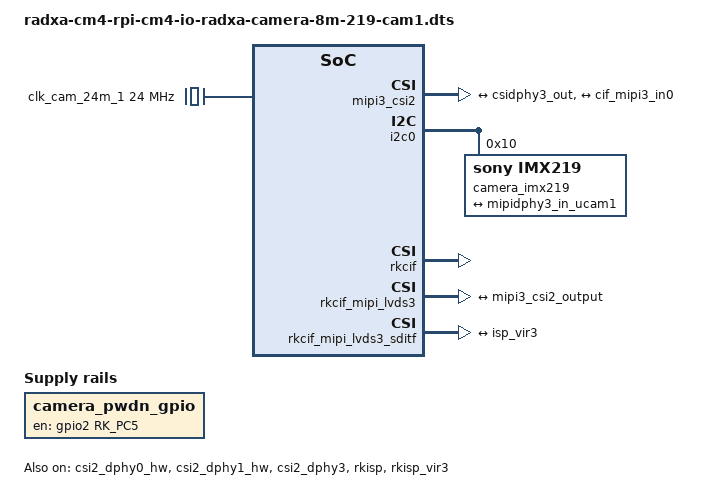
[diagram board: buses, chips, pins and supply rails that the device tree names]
/dts-v1/;
/plugin/;

#include <dt-bindings/gpio/gpio.h>
#include <dt-bindings/pinctrl/rockchip.h>

/ {
	metadata {
		title ="Enable Radxa Camera 8M 219 on CAM1";
		compatible = "radxa,cm4-rpi-cm4-io";
		category = "camera";
		exclusive = "csi2_dphy3", "i2c0";
		description = "Enable Radxa Camera 8M 219 on CAM1.";
	};
};

&{/} {
	camera_pwdn_gpio: camera-pwdn-gpio {
		compatible = "regulator-fixed";
		regulator-name = "camera_pwdn_gpio";
		regulator-always-on;
		regulator-boot-on;
		enable-active-high;
		gpio = <&gpio2 RK_PC5 GPIO_ACTIVE_HIGH>;
		pinctrl-names = "default";
		pinctrl-0 = <&cam_pwdn_gpio>;
	};

	clk_cam_24m_1: external-camera-clock-24m-1 {
		compatible = "fixed-clock";
		clock-frequency = <24000000>;
		clock-output-names = "clk_cam_24m_1";
		#clock-cells = <0>;
	};
};

&csi2_dphy0_hw {
	status = "okay";
};

&csi2_dphy1_hw {
	status = "okay";
};

&csi2_dphy3 {
	status = "okay";

	ports {
		#address-cells = <1>;
		#size-cells = <0>;

		port@0 {
			reg = <0>;
			#address-cells = <1>;
			#size-cells = <0>;

			mipidphy3_in_ucam1: endpoint@1 {
				reg = <1>;
				remote-endpoint = <&imx219_out0>;
				data-lanes = <1 2>;
			};
		};

		port@1 {
			reg = <1>;
			#address-cells = <1>;
			#size-cells = <0>;

			csidphy3_out: endpoint@0 {
				reg = <0>;
				remote-endpoint = <&mipi3_csi2_input>;
			};
		};
	};
};

&mipi3_csi2 {
	status = "okay";

	ports {
		#address-cells = <1>;
		#size-cells = <0>;

		port@0 {
			reg = <0>;
			#address-cells = <1>;
			#size-cells = <0>;

			mipi3_csi2_input: endpoint@1 {
				reg = <1>;
				remote-endpoint = <&csidphy3_out>;
			};
		};

		port@1 {
			reg = <1>;
			#address-cells = <1>;
			#size-cells = <0>;

			mipi3_csi2_output: endpoint@0 {
				reg = <0>;
				remote-endpoint = <&cif_mipi3_in0>;
			};
		};
	};
};

&i2c0 {
	#address-cells = <1>;
	#size-cells = <0>;

	camera_imx219: camera-imx219@10 {
		compatible = "sony,imx219";
		reg = <0x10>;

		clocks = <&clk_cam_24m_1>;
		clock-names = "xvclk";

		rockchip,camera-module-index = <0>;
		rockchip,camera-module-facing = "front";
		rockchip,camera-module-name = "RADXA-CAMERA-8M";
		rockchip,camera-module-lens-name = "default";

		port {
			imx219_out0: endpoint {
				remote-endpoint = <&mipidphy3_in_ucam1>;
				data-lanes = <1 2>;
			};
		};
	};
};

&rkcif {
	status = "okay";
};

&rkcif_mmu {
	status = "okay";
};

&rkcif_mipi_lvds3 {
	status = "okay";

	port {
		cif_mipi3_in0: endpoint {
			remote-endpoint = <&mipi3_csi2_output>;
		};
	};
};

&rkcif_mipi_lvds3_sditf {
	status = "okay";

	port {
		mipi_lvds3_sditf: endpoint {
			remote-endpoint = <&isp_vir3>;
		};
	};
};

&rkisp {
	status = "okay";
};

&rkisp_mmu {
	status = "okay";
};

&rkisp_vir3 {
	status = "okay";

	port {
		#address-cells = <1>;
		#size-cells = <0>;
 
		isp_vir3: endpoint@0 {
			reg = <0>;
			remote-endpoint = <&mipi_lvds3_sditf>;
		};
	};
};

&pinctrl {
	camera {
		cam_pwdn_gpio: cam-pwdn-gpio {
			rockchip,pins = <2 RK_PC5 RK_FUNC_GPIO &pcfg_pull_up>;
		};
	};
};
